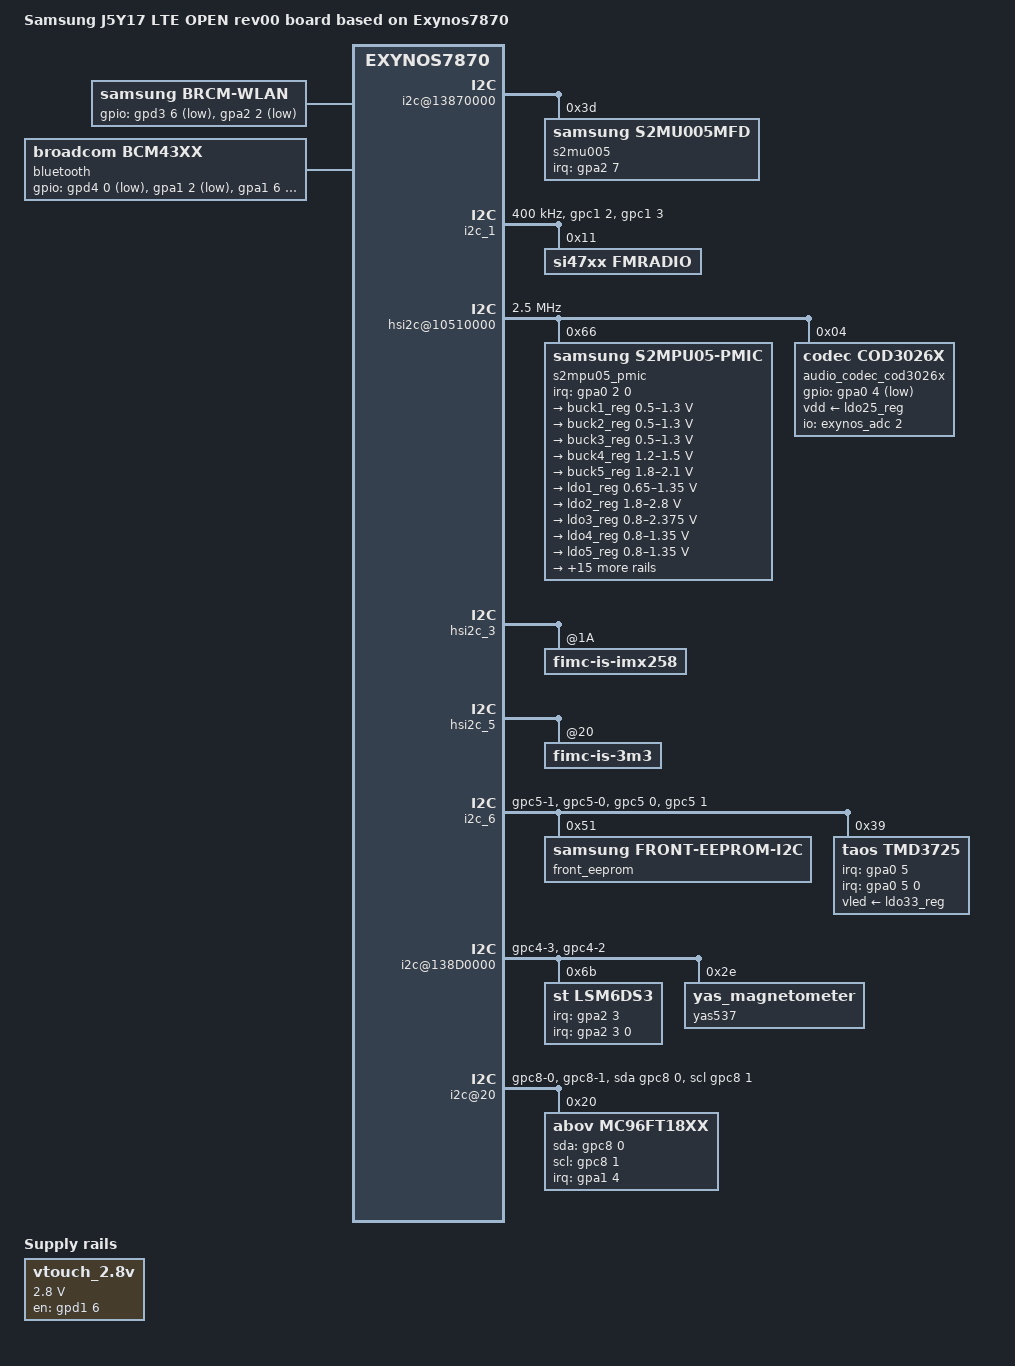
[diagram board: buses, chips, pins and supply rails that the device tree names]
/*
 * SAMSUNG UNIVERSAL8890 board device tree source
 *
 * Copyright (c) 2013 Samsung Electronics Co., Ltd.
 *		http://www.samsung.com
 *
 * This program is free software; you can redistribute it and/or modify
 * it under the terms of the GNU General Public License version 2 as
 * published by the Free Software Foundation.
*/

/dts-v1/;
#include "exynos7870-j5y17lte_common.dtsi"
#include "modem-ss315ap-pdata.dtsi"
#include "exynos7870-j5y17lte_eur_open_gpio_00.dtsi"
#include "exynos7870-j5y17lte_eur_open_battery_00.dtsi"
#include "exynos7870-j5y17lte_fingerprint-sensor_00.dtsi"
#include "exynos7870-j5y17lte_mst_00.dtsi"

/ {
	model = "Samsung J5Y17 LTE OPEN rev00 board based on Exynos7870";
	model_info-chip = <7870>;
	model_info-platform = "android";
	model_info-subtype = "samsung";
	model_info-hw_rev = <0>;
	model_info-hw_rev_end = <0>;
	compatible = "samsung, J5Y17 LTE EUR OPEN 00", "samsung,exynos7870";

	i2c@13870000 {
		status = "okay";
		samsung,i2c-sda-delay = <100>;
		samsung,i2c-max-bus-freq = <400000>;

		s2mu005@3d {
			compatible = "samsung,s2mu005mfd";
			reg = <0x3d>;
			pinctrl-names = "default";
			pinctrl-0 = <&if_pmic_irq>;
			s2mu005,irq-gpio = <&gpa2 7 0>;
			s2mu005,wakeup;

			leds {
				flash-gpio = <&gpd3 2 0>;
				torch-gpio = <&gpd3 3 0>;

				flash_current = <1200>;
				preflash_current = <150>;
				movie_current = <175>; /*unused*/
				torch_current = <75>;
				factory_current = <300>;
				front_torch_current = <50>;

				status = "okay";
				s2mu005-leds1 {
					ledname = "leds-sec1";
					id = <0>;
					timeout = <15>; /* use gpio */
				};

				s2mu005-leds2 {
					ledname = "leds-sec2";
					id = <1>;
					timeout = <15>; /* use gpio */
				};
			};

			leds-rgb {
				led_current_tuning_count = <3>; 	/* Number of Supported Panel Tuning */
				led_current_tuning = <
					0x0D6020  	/* LCD ID: Gold Color */
					0x28 0x07 0x20   /* B G R LED MAX current for Normal Mode */
					0x28 0x07 0x20   /* B G R LED MAX current for Low power mode */
					0x0D6120  	/* White Color */
					0x27 0x07 0x1E
					0x27 0x07 0x1E
					0x0D6220  	/* Black Color */
					0x5C 0x0D 0x28
					0x5C 0x0D 0x28
					>;
			};
		};
	};

	but_zones: but_zones {
		#list-but-cells = <3>;
	};

	s1402x: s1402x@14880000 {
		pinctrl-names = "default", "idle", "fm", "fm-idle";
		pinctrl-0 = <&i2s_pmic_bus
				&i2s_bt_bus>;
		pinctrl-1 = <&i2s_pmic_bus_idle
				&i2s_bt_bus_idle> ;
		pinctrl-2 = <&i2s_fm_bus>;
		pinctrl-3 = <&i2s_fm_bus_idle>;

		bck-mcko-mode;
		status = "okay";
	};
	pinctrl@139B0000 {
		si47xx_rst_default: si47xx_rst_default {
			samsung,pins = "gpd1-2";
			samsung,pin-function = <1>;
			samsung,pin-pud = <0>;
			samsung,pin-val = <0>;
		};
		si47xx_int_default: si47xx_int_default {
			samsung,pins = "gpd4-4";
			samsung,pin-function = <0xf>;
			samsung,pin-pud = <0>;
			samsung,pin-val = <0>;
		};
		i2c1_bus: i2c1-bus {
			samsung,pins = "gpc1-3", "gpc1-2";
			samsung,pin-function = <2>;
			samsung,pin-pud = <0>;
			samsung,pin-drv = <0>;
		};
	};

	i2c_1: i2c@13880000 {
		status = "okay";
		gpios = <&gpc1 2 0 &gpc1 3 0>;
		clock-frequency = <400000>;

		si47xx@11 {
			compatible = "si47xx,fmradio";
			reg = <0x11>;
			si47xx,mode = <1>;
			si47xx,reset = <&gpd1 2 0>;
			si47xx,interrupt = <&gpd4 4 0>;
			pinctrl-names = "default";
			pinctrl-0 = <&si47xx_rst_default &si47xx_int_default>;
			si47xx,rx-vol = <0x00 0x10 0x15 0x1A
							0x1E 0x22 0x25 0x28
							0x2A 0x2C 0x2E 0x31
							0x34 0x36 0x38 0x3A>;
		};
	};


	hsi2c@10510000 {
		status = "okay";
		samsung,hs-mode;
		clock-frequency = <2500000>;
		samsung,hsi2c-batcher;
		#address-cells = <1>;
		#size-cells = <0>;

		s2mpu05_pmic@66 {
			compatible = "samsung,s2mpu05-pmic";
			reg = <0x66>;
			ten-bit-address;
			interrupts = <2 0 0>;
			interrupt-parent = <&gpa0>;
			pinctrl-names = "default";
			pinctrl-0 = <&pmic_irq &pm_wrsti>;
			g3d_en = <1>; /* 1 : enable , 0 : disable */
			buck2en_pin = "etc1-3";
			buck2en_addr = "139B0080.pinctrl";
			/* RTC: wtsr/smpl */
			wtsr_en = <1>; /* enable */
			smpl_en = <1>; /* enable */
			wtsr_timer_val = <3>;   /* 1000ms */
			smpl_timer_val = <0>;   /* 100ms */
			check_jigon = <0>; /* do not check jigon */
			/* RTC: If it's first boot, reset rtc to 1/1/2016 12:00:00(Fri) */
			init_time,sec = <0>;
			init_time,min = <0>;
			init_time,hour = <12>;
			init_time,mday = <1>;
			init_time,mon = <0>;
			init_time,year = <116>;
			init_time,wday = <5>;

			regulators {
				buck1_reg: BUCK1 {
					regulator-name = "BUCK1";
					regulator-min-microvolt = <500000>;
					regulator-max-microvolt = <1300000>;
					regulator-always-on;
					regulator-boot-on;
					regulator-ramp-delay = <12000>;
					regulator-initial-mode = <1>;
					regulator-expected-consumer = <2>;
				};

				buck2_reg: BUCK2 {
					regulator-name = "BUCK2";
					regulator-min-microvolt = <500000>;
					regulator-max-microvolt = <1300000>;
					regulator-always-on;
					regulator-boot-on;
					regulator-ramp-delay = <12000>;
					regulator-initial-mode = <2>;		/* MIF mode */
					regulator-expected-consumer = <4>;
				};

				buck3_reg: BUCK3 {
					regulator-name = "BUCK3";
					regulator-min-microvolt = <500000>;
					regulator-max-microvolt = <1300000>;
					regulator-always-on;
					regulator-boot-on;
					regulator-ramp-delay = <12000>;
					regulator-initial-mode = <2>;
				};

				buck4_reg: BUCK4 {
					regulator-name = "BUCK4";
					regulator-min-microvolt = <1200000>;
					regulator-max-microvolt = <1500000>;
					regulator-always-on;
					regulator-boot-on;
					regulator-ramp-delay = <12000>;
					regulator-initial-mode = <2>;
				};

				buck5_reg: BUCK5 {
					regulator-name = "BUCK5";
					regulator-min-microvolt = <1800000>;
					regulator-max-microvolt = <2100000>;
					regulator-always-on;
					regulator-boot-on;
					regulator-ramp-delay = <12000>;
					regulator-initial-mode = <2>;
				};

				ldo1_reg: LDO1 {
					regulator-name = "vdd_ldo1";
					regulator-min-microvolt = <650000>;
					regulator-max-microvolt = <1350000>;
					regulator-always-on;
					regulator-boot-on;
					regulator-ramp-delay = <12000>;
					regulator-initial-mode = <3>;
				};

				ldo2_reg: LDO2 {
					regulator-name = "vqmmc";
					regulator-min-microvolt = <1800000>;
					regulator-max-microvolt = <2800000>;
					regulator-ramp-delay = <12000>;
					regulator-initial-mode = <0>;
				};

				ldo3_reg: LDO3 {
					regulator-name = "vdd_ldo3";
					regulator-min-microvolt = <800000>;
					regulator-max-microvolt = <2375000>;
					regulator-boot-on;
					regulator-always-on;
					regulator-ramp-delay = <12000>;
					regulator-initial-mode = <3>;
				};

				ldo4_reg: LDO4 {
					regulator-name = "vdd_ldo4";
					regulator-min-microvolt = <800000>;
					regulator-max-microvolt = <1350000>;
					regulator-boot-on;
					regulator-always-on;
					regulator-ramp-delay = <12000>;
					regulator-initial-mode = <1>;
				};

				ldo5_reg: LDO5 {
					regulator-name = "vdd_ldo5";
					regulator-min-microvolt = <800000>;
					regulator-max-microvolt = <1350000>;
					regulator-boot-on;
					regulator-always-on;
					regulator-ramp-delay = <12000>;
					regulator-initial-mode = <3>;
				};

				ldo6_reg: LDO6 {
					regulator-name = "vdd_ldo6";
					regulator-min-microvolt = <800000>;
					regulator-max-microvolt = <1350000>;
					regulator-boot-on;
					regulator-always-on;
					regulator-ramp-delay = <12000>;
					regulator-initial-mode = <1>;
				};

				ldo7_reg: LDO7 {
					regulator-name = "vdd_ldo7";
					regulator-min-microvolt = <800000>;
					regulator-max-microvolt = <2375000>;
					regulator-boot-on;
					regulator-always-on;
					regulator-ramp-delay = <12000>;
					regulator-initial-mode = <1>;
				};

				ldo8_reg: LDO8 {
					regulator-name = "vdd_ldo8";
					regulator-min-microvolt = <1800000>;
					regulator-max-microvolt = <3375000>;
					regulator-boot-on;
					regulator-always-on;
					regulator-ramp-delay = <12000>;
					regulator-initial-mode = <1>;
				};

				ldo9_reg: LDO9 {
					regulator-name = "vdd_ldo9";
					regulator-min-microvolt = <650000>;
					regulator-max-microvolt = <1350000>;
					regulator-always-on;
					regulator-ramp-delay = <12000>;
					regulator-initial-mode = <1>;
				};

				ldo10_reg: LDO10 {
					regulator-name = "vdd_ldo10";
					regulator-min-microvolt = <650000>;
					regulator-max-microvolt = <1350000>;
					regulator-always-on;
					regulator-ramp-delay = <12000>;
					regulator-initial-mode = <1>;
				};

				ldo25_reg: LDO25 {
					regulator-name = "vdd_ldo25";
					regulator-min-microvolt = <800000>;
					regulator-max-microvolt = <2375000>;
					regulator-ramp-delay = <12000>;
					regulator-initial-mode = <1>;
				};

				ldo26_reg: LDO26 {
					regulator-name = "vemmc";
					regulator-min-microvolt = <1800000>;
					regulator-max-microvolt = <3375000>;
					regulator-boot-on;
					regulator-ramp-delay = <12000>;
					regulator-initial-mode = <3>;
				};

				ldo27_reg: LDO27 {
					regulator-name = "vqemmc";
					regulator-min-microvolt = <800000>;
					regulator-max-microvolt = <2375000>;
					regulator-boot-on;
					regulator-ramp-delay = <12000>;
					regulator-initial-mode = <3>;
				};

				ldo29_reg: LDO29 {
					regulator-name = "LCD_3P0";
					regulator-min-microvolt = <3000000>;
					regulator-max-microvolt = <3000000>;
					regulator-boot-on;
					regulator-initial-mode = <3>;
				};

				ldo30_reg: LDO30 {
					regulator-name = "LCD_1P8";
					regulator-min-microvolt = <1800000>;
					regulator-max-microvolt = <1800000>;
					regulator-boot-on;
					regulator-initial-mode = <3>;
				};

				ldo31_reg: LDO31 {
					regulator-name = "vdd_ldo31";
					regulator-min-microvolt = <2800000>;
					regulator-max-microvolt = <2800000>;
					regulator-boot-on;
					regulator-always-on;
					regulator-ramp-delay = <12000>;
					regulator-initial-mode = <3>;
				};

				ldo32_reg: LDO32 {
					regulator-name = "VDD_MOTOR_3.3";
					regulator-min-microvolt = <3300000>;
					regulator-max-microvolt = <3300000>;
					regulator-ramp-delay = <12000>;
				};

				ldo33_reg: LDO33 {
					regulator-name = "vdd_sensor_3p3";
					regulator-min-microvolt = <3300000>;
					regulator-max-microvolt = <3300000>;
					regulator-ramp-delay = <12000>;
					regulator-initial-mode = <3>;
				};

				ldo34_reg: LDO34 {
					regulator-name = "tsp_avdd";
					regulator-min-microvolt = <3300000>;
					regulator-max-microvolt = <3300000>;
				};

				ldo35_reg: LDO35 {
					regulator-name = "VDD_CAM_SENSOR_A2P8";
					regulator-min-microvolt = <2800000>;
					regulator-max-microvolt = <2800000>;
					regulator-initial-mode = <0>;
				};
			};
		};

		audio_codec_cod3026x: cod3026x@04 {
			compatible = "codec,cod3026x";
			reg = <0x04>;
			ten-bit-address;
			vdd-supply = <&ldo25_reg>;
			pinctrl-names = "default";
			pinctrl-0 = <&cod3026_irq>;
			interrupt-parent = <&gpa0>;
			gpios = <&gpa0 4 0xf>;
			mic-bias1-voltage = <1>;
			mic-bias2-voltage = <1>;
			mic-bias-ldo-voltage = <3>;
			use-det-adc-mode;
			io-channels = <&exynos_adc 2>;
			io-channel-names = "adc-jack";
			#io-channel-cells = <1>;
			io-channel-ranges;
			but-zones-list = <&but_zones 226 0 240>, /* send/end */
					<&but_zones 582 241 317>, /* google */
					<&but_zones 115 318 517>, /* vol up */
					<&but_zones 114 518 1107>; /* vol down */
			mic-adc-range = <1347>;
			mic-det-delay = <550>;
		};
	};

	vtouch_2.8v {
		compatible = "regulator-fixed";
		regulator-name = "vtouch_2.8v";
		regulator-min-microvolt = <2800000>;
		regulator-max-microvolt = <2800000>;
		gpio = <&gpd1 6 0>;
		regulator-boot-on;
		enable-active-high;
	};

	wlan {
		compatible = "samsung,brcm-wlan";
		gpios = <&gpd3 6 0x1 /* WLAN_EN */
			&gpa2 2 0x1>; /* WLAN_HOST_WAKE */
		pinctrl-names = "default";
		pinctrl-0 = <&cfg_wlanen &cfg_wlanhostwake>;
		status = "okay";
	};

	pinctrl@13750000 {
		sd1_bus1: sd1-bus-width1 {
			samsung,pin-pud = <3>;
		};

		sd1_bus4: sd1-bus-width4 {
			samsung,pin-pud = <3>;
		};
	};

	bluetooth {
		compatible = "broadcom,bcm43xx";
		gpios = <&gpd4 0 0x1	/*BT_EN*/
			&gpa1 2 0x1	/*BT_WAKE*/
			&gpa1 6 0xF	/*BT_HOST_WAKE*/ >;
		pinctrl-names = "default";
		pinctrl-0=<&bt_hostwake &bt_btwake &bt_en>;
		fm-lna-en = <&gpc0 1 1>;
		status = "okay";
	};

	fimc_is_module_imx258: fimc-is_sensor_imx258@1A {
		/delete-property/ gpio_cam_a2p8_en;
	};

	fimc_is_module_3m3: fimc-is_sensor_3m3@2D {
		gpio_cam_a2p8_en = <&gpc6 1 0x1>; /* VTCAM_A2P8_EN */
	};

	hsi2c_3: hsi2c@138A0000 {
		fimc-is-imx258@1A {
			fnum = <2>; /* F1_9 : fimc-is-param.h */
		};
	};

	hsi2c_5: hsi2c@138C0000 {
		fimc-is-3m3@20 {
			setfile = "setA"; /*EVT 00*/
		};
	};

	hsi2c_2: hsi2c@13960000 {
		/delete-property/ front_eeprom@51;
	};

	i2c_6: i2c@138E0000 {
		gpios = <&gpc5 0 0 &gpc5 1 0>;
		status = "okay";
		samsung,i2c-sda-delay = <100>;
		samsung,i2c-max-bus-freq = <400000>;

		pinctrl-names = "default";
		pinctrl-0 = <&i2c6_bus>;

		front_eeprom@51 {
			compatible = "samsung,front-eeprom-i2c";
			reg = <0x51>;
		};
	};

	pinctrl@139F0000 {
		acc_int: acc_int {
			samsung,pins = "gpa2-3";
			samsung,pin-function = <0xf>;
			samsung,pin-pud = <0>;
			samsung,pin-drv = <0>;
		};

		prox_int: prox_int {
			samsung,pins = "gpa0-5";
			samsung,pin-function = <0xf>;
			samsung,pin-pud = <0>;
			samsung,pin-drv = <0>;
		};
	};

	pinctrl@139B0000 {
		/delete-node/ ese_pvdd_en;

		sensor_i2c: sensor_i2c {
			samsung,pins = "gpc4-3", "gpc4-2";
			samsung,pin-function = <2>;
			samsung,pin-pud = <0>;
		};

		proxy_i2c: proxy_i2c {
			samsung,pins = "gpc5-1", "gpc5-0";
			samsung,pin-function = <2>;
			samsung,pin-pud = <0>;
		};
	};

	i2c@138D0000 {
		samsung,i2c-sda-delay = <100>;
		samsung,i2c-max-bus-freq = <400000>;
		status = "okay";
		#address-cells = <1>;
		#size-cells = <0>;
		pinctrl-names = "default";
		pinctrl-0 = <&sensor_i2c>;

		lsm6ds3@6b {
			compatible = "st,lsm6ds3";
			reg = <0x6b>;
			pinctrl-names = "default";
			pinctrl-0 = <&acc_int>;
			interrupt-parent = <&gpa2>;
			interrupts = <3 0 0>;
			st,orientation = <1 2 1 2 1 1 1 1 0>;
			st,drdy-int-pin = <1>;
			st,irq_gpio = <&gpa2 3 0x00>;
		};

		yas537@2e {
			compatible = "yas_magnetometer";
			reg = <0x2e>;
			yas,orientation = <7>;
			yas,softiron = <9457 138 331 42 9772 256 78 8 10551>;
			yas,softiron_sign = <2 2 0 2 2 0 2 0 2>;
		};
	};

	i2c@138E0000 {
		samsung,i2c-sda-delay = <100>;
		samsung,i2c-max-bus-freq = <400000>;
		status = "okay";
		#address-cells = <1>;
		#size-cells = <0>;
		pinctrl-names = "default";
		pinctrl-0 = <&proxy_i2c>;

		tmd3725@39 {
			compatible = "taos,tmd3725";
			reg = <0x39>;
			pinctrl-names = "default";
			pinctrl-0 = <&prox_int>;
			interrupt-parent = <&gpa0>;
			interrupts = <5 0 0>;
			taos,irq_gpio = <&gpa0 5 0x00>;
			taos,vled-supply = <&ldo33_reg>;
			taos,prox_thd_det_hi = <55>;
			taos,prox_thd_still_det_low = <40>;
			taos,prox_thd_still_det_hi = <250>;
			taos,prox_thd_rel_low = <130>;
			taos,coef_r = <(-830)>;
			taos,coef_g = <1100>;
			taos,coef_b = <(-1180)>;
			taos,coef_c = <1000>;
			taos,dgf = <925>;
			taos,cct_coef = <3521>;
			taos,cct_offset = <2095>;
		};
	};

	i2c@13850000 {
		status = "disable";
	};

	
	pinctrl@139B0000 {
		cfg_i2c: cfg-i2c {
			samsung,pins = "gpc8-0", "gpc8-1";
			samsung,pin-function = <3>;
			samsung,pin-pud = <0>;
			samsung,pin-drv = <0>;
		};
		cfg_gpio: cfg_gpio {
			samsung,pins = "gpc8-0", "gpc8-1";
			samsung,pin-function = <0>;
			samsung,pin-pud = <0>;
			samsung,pin-drv = <0>;
		};
	};

	pinctrl@139F0000 {
		cfg_irq: cfg-irq {
			samsung,pins = "gpa1-4";
			samsung,pin-function = <0xf>;
			samsung,pin-pud = <3>;
			samsung,pin-drv = <0>;
		};
		cfg_input: cfg-input {
			samsung,pins = "gpa1-4";
			samsung,pin-function = <0>;
			samsung,pin-pud = <1>;
			samsung,pin-drv = <0>;
		};
	};

	i2c@20{
		compatible = "i2c-gpio";
		gpios = <&gpc8 0 0 /* sda */
				&gpc8 1 0 /* scl */
				>;
		i2c-gpio,delay-us = <2>;
		#address-cells = <1>;
		#size-cells = <0>;
		status = "okay";
		pinctrl-names = "default","on_i2c","off_i2c";
		pinctrl-0 = <&cfg_i2c>;
		pinctrl-1 = <&cfg_i2c>;
		pinctrl-2 = <&cfg_gpio>;
		abov@20 {
			status = "okay";
			compatible = "abov,mc96ft18xx";
			pinctrl-names = "on_irq", "off_irq";
			pinctrl-0 = <&cfg_irq>;
			pinctrl-1 = <&cfg_input>;
			reg = <0x20>;
			interrupt-parent = <&gpa0>;
			abov,sda-gpio = <&gpc8 0 0>;
			abov,scl-gpio = <&gpc8 1 0>;
			abov,irq-gpio = <&gpa1 4 0>;
			abov,fw_path = "abov/a96t316_j5y17.fw";
		};
	};
};
